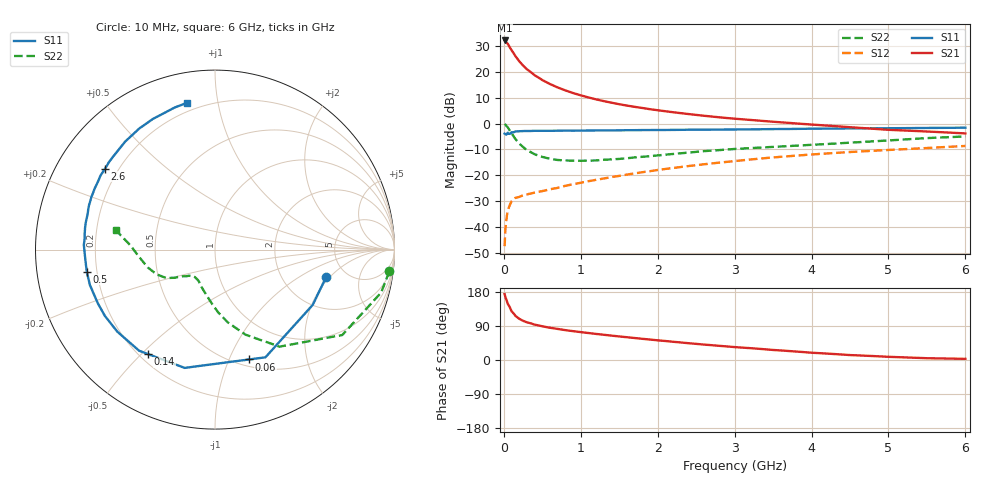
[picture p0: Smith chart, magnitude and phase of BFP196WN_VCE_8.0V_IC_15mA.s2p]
! Infineon Technologies  Discrete & RF Semiconductors
! BFP196WN
! VCE =  8.0 V,  IC =  15 mA
! Common Emitter S-Parameters:  Jan 2017
# GHz  S  MA  R  50
!  f  S11  S21  S12  S22
! GHz  MAG  ANG  MAG  ANG  MAG  ANG  MAG  ANG
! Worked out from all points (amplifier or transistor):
!   77 points, 10 MHz to 6 GHz, reference 50 ohm
!   highest |S21| = 32.2 dB at 10 MHz (marker M1)
!   |S21| within 3 dB of that: start of sweep to 84.05 MHz
!   unconditionally stable (mu >= 1): 1.024 GHz to 2.649 GHz
!   at 130 MHz: K = 0.25, MSG = 28.2 dB, |S12| = -29.3 dB
!   at 2.2 GHz: K = 1.04, MAG = 9.6 dB, |S12| = -17.2 dB
!   at 6 GHz: K = 0.86, MSG = 2.4 dB, |S12| = -8.7 dB
!   S11 on the Smith chart (normalised r, x): 10 MHz: 3.53, -1.82; 60 MHz: 0.57, -1.19; 140 MHz: 0.23, -0.52; 500 MHz: 0.16, -0.08; 2.6 GHz: 0.15, +0.32; 6 GHz: 0.15, +0.82
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0.01  0.6382 -13.8  40.9 174.0  0.0042 81.0  0.9789 -7.1
0.02  0.6256 -29.5  39.21 166.4  0.0087 83.5  0.9561 -14.5
0.05  0.6626 -64.9  35.41 148.7  0.0205 62.6  0.8538 -33.9
0.06  0.641 -72.7  33.37 145.5  0.0225 58.8  0.8045 -37.4
0.1  0.6805 -104.4  26.55 128.5  0.0311 48.7  0.6492 -56.4
0.14  0.6912 -122.6  21.55 119.5  0.0352 42.8  0.5297 -66.9
0.15  0.7044 -126.9  20.41 116.6  0.0363 41.5  0.5034 -70.3
0.2  0.7107 -139.9  16.17 108.8  0.0379 37.9  0.411 -80.1
0.25  0.7161 -148.9  13.34 103.4  0.0408 37.4  0.3509 -87.0
0.3  0.7182 -155.5  11.32 99.4  0.0423 37.2  0.3051 -92.8
0.4  0.7243 -164.2  8.667 93.3  0.0459 39.5  0.2547 -101.3
0.5  0.725 -170.3  6.983 88.9  0.0491 42.2  0.2258 -108.5
0.7  0.7266 -178.6  5.015 82.0  0.0568 47.4  0.1967 -117.7
0.9  0.7288 175.1  3.907 76.1  0.0667 51.6  0.1909 -124.0
1.1  0.734 170.4  3.211 71.2  0.0763 55.3  0.191 -128.4
1.5  0.7412 162.3  2.373 62.2  0.0968 58.6  0.2066 -135.2
2.1  0.7524 151.7  1.736 50.1  0.1318 60.2  0.2495 -142.4
2.6  0.7603 143.6  1.419 40.7  0.1625 59.4  0.2922 -147.4
3.1  0.7703 135.9  1.211 32.7  0.1942 57.3  0.328 -152.6
4.1  0.797 120.7  0.936 18.1  0.2575 51.0  0.3945 -167.3
5.1  0.8144 109.1  0.746 7.7  0.3133 43.5  0.4812 176.1
6  0.8324 100.8  0.645 3.0  0.3683 37.1  0.5629 169.0
